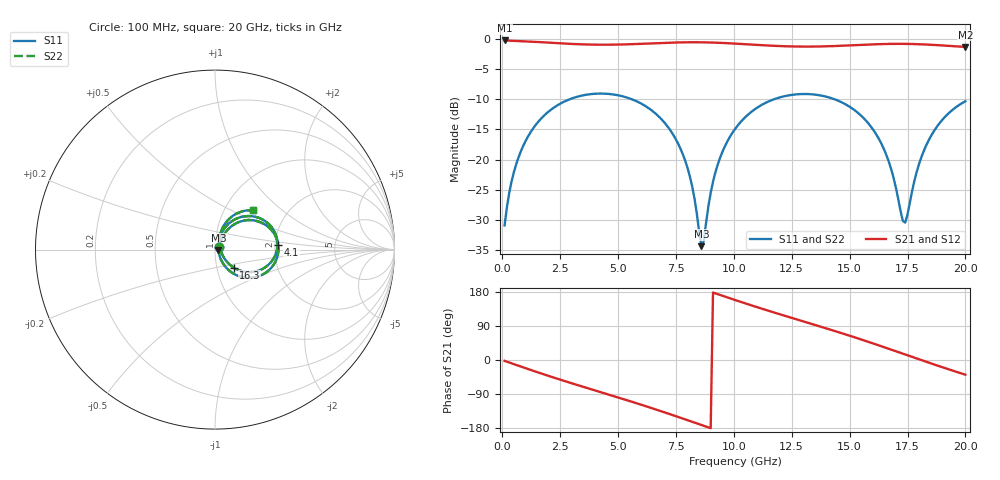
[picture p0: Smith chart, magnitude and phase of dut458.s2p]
! Touchstone file exported from HFSS 2026.1.0
!  File:  C:/ffzhzh/LocalFiles/Ansys_Project_Files/temp_train_TSV_RDL_458_1783100943_35180.aedt
!  Generated:  02:02:34 AM Jul  4, 2026
!  Design:  TSV_RDL
!  Project:  temp_train_TSV_RDL_458_1783100943_35180
! Variables:
!  h_bsmrdl = 5.75um
!  h_ox = 20um
!  h_rdl = 5um
!  h_sub = 93.83um
!  h_tmrdl = 3.88um
!  h_tsv = 93.83um
!  h_via = 3um
!  l_bsmrdl = 702.04um
!  l_sub = 6362.59um
!  l_tmrdl = 933.33um
!  m_sub = 200um
!  pitch = 40.26um
!  r_tsv = 14.68um
!  s_tmrdl = 10um
!  w_bsmrdl = 18.25um
!  w_sub = 500um
!  w_tmrdl = 22.8um
!  x_tsv_center1 = 944.73um
!  x_tsv_center2 = 1665.02um
!  x_tsv_center3 = 2621.15um
!  x_tsv_center4 = 3341.44um
!  x_tsv_center5 = 4297.57um
!  x_tsv_center6 = 5017.86um
# GHz S MA R 50.000000
! Terminal data exported
! Port[1] = TM_RDL1_1_T1
! Port[2] = TM_RDL5_1_T1
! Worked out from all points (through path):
!   200 points, 100 MHz to 20 GHz, reference 50 ohm
!   highest |S21| = -0.20 dB at 100 MHz (marker M1); lowest = -1.3 dB at 20 GHz (marker M2)
!   group delay of S21, straight-line fit = 55 ps
!   lowest |S11| = -34.4 dB at 8.6 GHz (marker M3), VSWR 1.04, Z = 51.9 - j0.21 ohm
!   |S11| at or under -10 dB: start of sweep to 2.896 GHz; 5.607 GHz to 11.72 GHz (6.114 GHz wide, 70.6 % of centre); 14.36 GHz to end of sweep
!   |S22| runs from -34.3 to -9.0 dB; largest |S21 - S12| = 1.6e-14
!   S11 on the Smith chart (normalised r, x): 100 MHz: 1.05, +0.03; 4.1 GHz: 2.08, +0.12; 16.3 GHz: 1.20, -0.25; 20 GHz: 1.36, +0.66
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0.1  0.0283 33.2  0.9768 -2.3  0.9768 -2.3  0.0283 33.2
! Gamma 0 0 0 0
! Port Impedance 50 0 50 0
0.5  0.07841 58.5  0.9697 -10.9  0.9697 -10.9  0.07841 58.5
1.2  0.166 54.0  0.9565 -25.7  0.9565 -25.7  0.166 54.0
2.2  0.2679 37.6  0.9318 -46.0  0.9318 -46.0  0.2679 37.6
3.5  0.3421 14.5  0.906 -70.9  0.906 -70.9  0.3421 14.5
4.1  0.353 4.0  0.901 -82.1  0.901 -82.1  0.353 4.0
5.5  0.3218 -20.8  0.9083 -108.4  0.9083 -108.4  0.3219 -20.7
6.8  0.2236 -43.9  0.9296 -133.9  0.9296 -133.9  0.2237 -43.8
7.9  0.09769 -59.6  0.9428 -156.7  0.9428 -156.7  0.09771 -59.5
8.3  0.04748 -55.6  0.9438 -165.1  0.9438 -165.1  0.04755 -55.4
8.6  0.01904 -6.1  0.9429 -171.4  0.9429 -171.4  0.01924 -5.9
9.2  0.0778 69.0  0.9366 175.9  0.9366 175.9  0.07788 68.8
10.1  0.1847 59.2  0.9187 157.3  0.9187 157.3  0.1847 59.1
11.7  0.3152 31.8  0.8821 126.1  0.8821 126.1  0.3153 31.8
13.4  0.3481 2.7  0.869 94.5  0.869 94.5  0.3482 2.7
15.1  0.2668 -26.3  0.8904 62.2  0.8904 62.2  0.2669 -26.2
16.3  0.1441 -44.0  0.9104 37.8  0.9104 37.8  0.1443 -43.8
16.7  0.09493 -45.7  0.9142 29.4  0.9142 29.4  0.09515 -45.5
17.4  0.02992 21.2  0.915 14.5  0.915 14.5  0.03034 20.9
17.9  0.07928 70.0  0.9103 3.9  0.9103 3.9  0.07937 69.7
18.4  0.1427 69.9  0.9018 -6.6  0.9018 -6.6  0.1427 69.7
20  0.3053 45.9  0.8629 -38.8  0.8629 -38.8  0.3053 45.8
